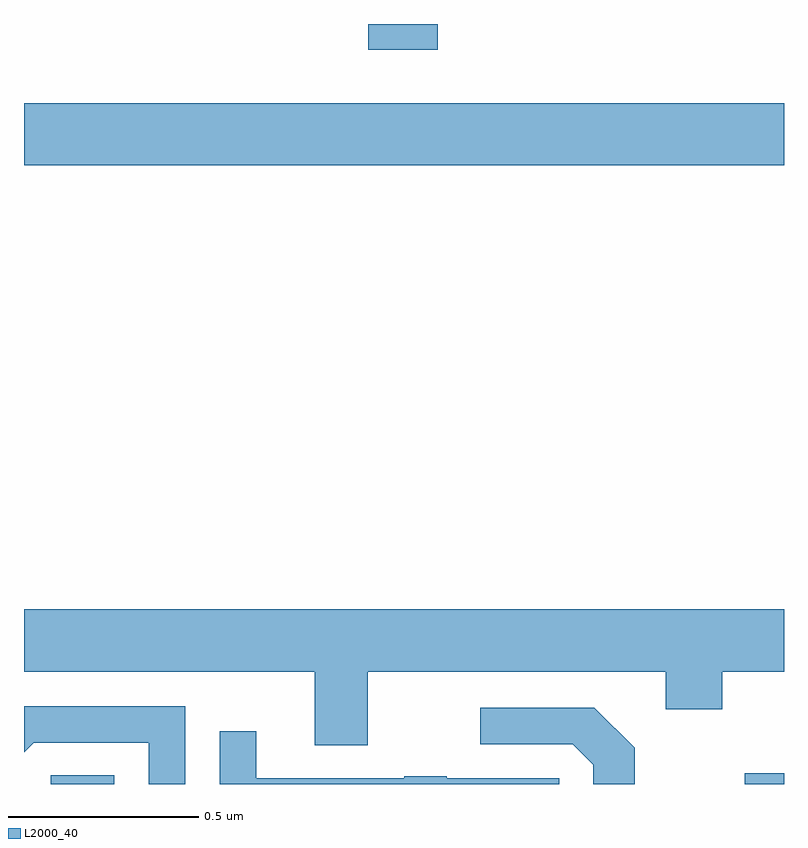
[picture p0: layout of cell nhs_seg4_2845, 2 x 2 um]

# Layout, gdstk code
import gdstk
lib = gdstk.Library(unit=1e-6, precision=1e-09)
def R(c, l, rs):  # rectangles x0, y0, x1, y1
    for r in rs: c.add(gdstk.rectangle(r[:2], r[2:], *l))
def P(c, l, *ps):  # polygons
    for p in ps: c.add(gdstk.Polygon(p, *l))
L2000_40 = (2000, 40)

nhs_seg4_2845 = lib.new_cell('nhs_seg4_2845')
R(nhs_seg4_2845, L2000_40, [(146.07,753.9,146.238,753.923), (147.897,753.9,148,753.928), (146,755.528,148,755.692), (146.906,755.832,147.089,755.9)])
P(nhs_seg4_2845, L2000_40, [(146.905,754.196),(147.689,754.196),(147.689,754.097),(147.837,754.097),(147.837,754.196),(148,754.196),(148,754.36),(146,754.36),(146,754.196),(146.765,754.196),(146.765,754.002),(146.905,754.002)],
  [(146.424,754.104),(146,754.104),(146,753.983),(146.025,754.008),(146.328,754.008),(146.328,753.9),(146.424,753.9)],
  [(147.607,753.995),(147.501,754.101),(147.201,754.101),(147.201,754.005),(147.444,754.005),(147.498,753.951),(147.498,753.9),(147.607,753.9)],
  [(147.408,753.915),(147.113,753.915),(147.113,753.92),(147.001,753.92),(147.001,753.915),(146.611,753.915),(146.611,754.039),(146.515,754.039),(146.515,753.9),(147.408,753.9)])

lib.write_gds('nhs_seg4_2845.gds')
